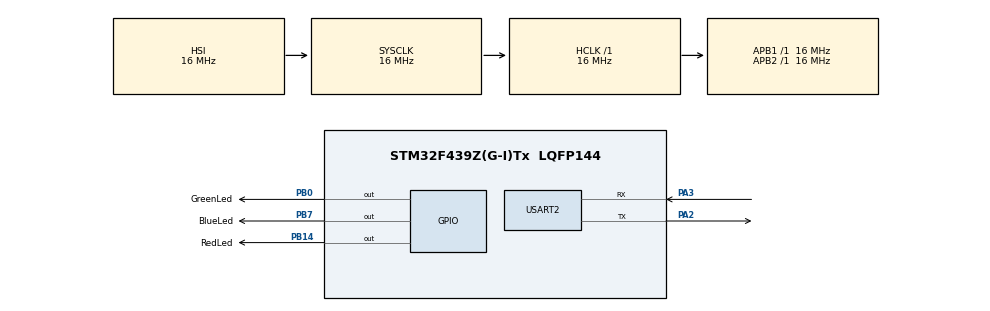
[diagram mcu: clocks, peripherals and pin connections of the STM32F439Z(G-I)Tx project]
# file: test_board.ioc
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Mcu.Family=STM32F4
Mcu.Name=STM32F439Z(G-I)Tx
Mcu.Package=LQFP144
NVIC.PriorityGroup=NVIC_PRIORITYGROUP_4
NVIC.USART2_IRQn=true\:0\:0\:false\:false\:true\:true\:true\:true
PA2.Mode=Asynchronous
PA2.Signal=USART2_TX
PA3.Mode=Asynchronous
PA3.Signal=USART2_RX
PB0.GPIO_Label=GreenLed
PB0.Signal=GPIO_Output
PB14.GPIO_Label=RedLed
PB14.Signal=GPIO_Output
PB7.GPIO_Label=BlueLed
PB7.Signal=GPIO_Output
ProjectManager.HeapSize=0x200
ProjectManager.StackSize=0x400
ProjectManager.TargetToolchain=STM32CubeIDE
RCC.AHBFreq_Value=16000000
RCC.APB1Freq_Value=16000000
RCC.APB2Freq_Value=16000000
RCC.CortexFreq_Value=16000000
RCC.HSE_VALUE=25000000
RCC.HSI_VALUE=16000000
RCC.LSE_VALUE=32768
RCC.SYSCLKFreq_VALUE=16000000
RCC.VCOOutputFreq_Value=192000000
USART2.VirtualMode=VM_ASYNC
board=custom

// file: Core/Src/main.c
/* USER CODE BEGIN Header */
/**
  ******************************************************************************
  * @file           : main.c
  * @brief          : Main program body
  ******************************************************************************
  * @attention
  *
  * Copyright (c) 2022 STMicroelectronics.
  * All rights reserved.
  *
  * This software is licensed under terms that can be found in the LICENSE file
  * in the root directory of this software component.
  * If no LICENSE file comes with this software, it is provided AS-IS.
  *
  ******************************************************************************
  */
/* USER CODE END Header */
#include "main.h"
#include "usart.h"
#include "gpio.h"

/* USER CODE BEGIN Includes */
void bootloader_set_boot_bank(uint8_t bank){

	if ((bank != 1) && (bank!=2)){
		return;
	}

	// clear OPTLOCK bit to enable modifying the option bytes
	HAL_FLASH_OB_Unlock();

	// Check that no Flash memory operation is ongoing
	while(FLASH->SR & FLASH_SR_BSY_Msk);

	// if it's required to set bank 1, then clear BFB2 bit
	// and if it's required to set bank 2, set the BFB2 bit
	if (bank==1){
		CLEAR_BIT(FLASH->OPTCR, FLASH_OPTCR_BFB2_Msk);
	}else{
		SET_BIT(FLASH->OPTCR, FLASH_OPTCR_BFB2_Msk);
	}

	// start changing user option bytes
	//HAL_FLASH_OB_Launch();
	SET_BIT(FLASH->OPTCR, FLASH_OPTCR_OPTSTRT_Msk);

	// Wait for the operation to be completed
	while(FLASH->SR & FLASH_SR_BSY_Msk);

	// unlock option-bytes-bit
	HAL_FLASH_OB_Lock();

}

void bootloader_switch_to_inactive_bank(void){

	// 0 represents bank 1,
	// 1 represents bank 2
	uint8_t active_bank = READ_BIT(FLASH->OPTCR, FLASH_OPTCR_BFB2_Msk);

	if (active_bank == 0){
		bootloader_set_boot_bank(2);
	}else{
		bootloader_set_boot_bank(1);
	}

	bootloader_reboot();
}

void bootloader_reboot(void){
	NVIC_SystemReset();
}
/* USER CODE END Includes */

/* USER CODE BEGIN PV */
#define FAILED 0
#define SUCCEED 1
static uint32_t GetSector(uint32_t Address)
{
	uint32_t sector = 0;

	/* BANK 1 */
	if((Address >= 0x08000000 ) && (Address < 0x08003FFF))
	{
		sector = FLASH_SECTOR_0;
	}

	else if((Address >= 0x08004000 ) && (Address <  0x08007FFF))
	{
		sector = FLASH_SECTOR_1;
	}

	else if((Address >= 0x08008000) && (Address <  0x0800BFFF))
	{
		sector = FLASH_SECTOR_2;
	}

	else if((Address >= 0x0800C000) && (Address < 0x0800FFFF))
	{
		sector = FLASH_SECTOR_3;
	}

	else if((Address >=  0x08010000) && (Address <  0x0801FFFF))
	{
		sector = FLASH_SECTOR_4;
	}

	else if((Address >=  0x08020000) && (Address < 0x0803FFFF))
	{
		sector = FLASH_SECTOR_5;
	}

	else if((Address >= 0x08040000) && (Address < 0x0805FFFF))
	{
		sector = FLASH_SECTOR_6;
	}

	else if((Address >= 0x08060000) && (Address < 0x0807FFFF))
	{
		sector = FLASH_SECTOR_7;
	}

	else if((Address >= 0x08080000) && (Address < 0x0809FFFF))
	{
		sector = FLASH_SECTOR_8;
	}

	else if((Address >= 0x080A0000) && (Address < 0x080BFFFF))
	{
		sector = FLASH_SECTOR_9;
	}

	else if((Address >= 0x080C0000) && (Address < 0x080DFFFF))
	{
		sector = FLASH_SECTOR_10;
	}

	else if((Address >= 0x080E0000) && (Address < 0x080FFFFF))
	{
		sector = FLASH_SECTOR_11;
	}

	/* BANK 2 */
	if((Address >= 0x08100000 ) && (Address < 0x08103FFF))
	{
		sector = FLASH_SECTOR_12;
	}

	else if((Address >= 0x08104000 ) && (Address <  0x08107FFF))
	{
		sector = FLASH_SECTOR_13;
	}

	else if((Address >= 0x08108000) && (Address <  0x0810BFFF))
	{
		sector = FLASH_SECTOR_14;
	}

	else if((Address >= 0x0810C000) && (Address < 0x0810FFFF))
	{
		sector = FLASH_SECTOR_15;
	}

	else if((Address >=  0x08110000) && (Address <  0x0811FFFF))
	{
		sector = FLASH_SECTOR_16;
	}

	else if((Address >=  0x08120000) && (Address < 0x0813FFFF))
	{
		sector = FLASH_SECTOR_17;
	}

	else if((Address >= 0x08140000) && (Address < 0x0815FFFF))
	{
		sector = FLASH_SECTOR_18;
	}

	else if((Address >= 0x08160000) && (Address < 0x0817FFFF))
	{
		sector = FLASH_SECTOR_19;
	}

	else if((Address >= 0x08180000) && (Address < 0x0819FFFF))
	{
		sector = FLASH_SECTOR_20;
	}

	else if((Address >= 0x081A0000) && (Address < 0x081BFFFF))
	{
		sector = FLASH_SECTOR_21;
	}

	else if((Address >= 0x081C0000) && (Address < 0x081DFFFF))
	{
		sector = FLASH_SECTOR_22;
	}

	else if((Address >= 0x081E0000) && (Address < 0x081FFFFF))
	{
		sector = FLASH_SECTOR_23;
	}
	return sector;
}

uint8_t Flash_Memory_Write(uint32_t StartSectorAddress ,uint32_t *data, uint32_t dataSizeInBytes){

	static FLASH_EraseInitTypeDef EraseInitStruct;   /* Struct to erase the flash area */
	uint32_t SECTORError;
	uint32_t numofWords=dataSizeInBytes/4;
	uint32_t numofWordsWritten=0;

	/* Getting the number of sector to erase from the first sector */
	uint32_t StartSector = GetSector(StartSectorAddress);
	uint32_t EndSectorAddress = StartSectorAddress + dataSizeInBytes;
	uint32_t EndSector = GetSector(EndSectorAddress);

	/* Filling the erasing struct */
	EraseInitStruct.TypeErase     = FLASH_TYPEERASE_SECTORS;
	EraseInitStruct.VoltageRange  = FLASH_VOLTAGE_RANGE_3;
	EraseInitStruct.Sector        = StartSector;
	EraseInitStruct.NbSectors     = (EndSector - StartSector) + 1;

	/* Unlocking the Flash control register */
	HAL_FLASH_Unlock();

	/* check if the erasing process is done correctly */
	if (HAL_FLASHEx_Erase(&EraseInitStruct, &SECTORError) != HAL_OK)
	{
		/*Error occurred while page erase*/
		return FAILED;
	}

	/* looping on the data word by word to write it in the flash */
	while(numofWordsWritten < numofWords){

		if (HAL_FLASH_Program(FLASH_TYPEPROGRAM_WORD, StartSectorAddress, data[numofWordsWritten]) == HAL_OK)
		{
			StartSectorAddress += 4;
			numofWordsWritten++;
		}
		else
		{
			/* Error occurred while writing data in Flash memory*/
			return FAILED;
		}

	}

	/* Locking the Flash control register */
	HAL_FLASH_Lock();

	return SUCCEED;
}

/* USER CODE END PV */

void SystemClock_Config(void);
#define app_size 6516
/* USER CODE BEGIN 0 */

uint8_t data_received[app_size]={0};
int flag=0;

//uint64_t array_data[]
void HAL_UART_RxCpltCallback(UART_HandleTypeDef *huart){

	flag =100;

}
void HAL_UART_TxCpltCallback(UART_HandleTypeDef *huart){

}
/* USER CODE END 0 */

int main(void)
{

  /* MCU Configuration--------------------------------------------------------*/

  /* Reset of all peripherals, Initializes the Flash interface and the Systick. */
  HAL_Init();

  /* Configure the system clock */
  SystemClock_Config();

  /* Initialize all configured peripherals */
  MX_GPIO_Init();
  MX_USART2_UART_Init();
  /* USER CODE BEGIN 2 */
  int8_t xx[1]={0x05};
  HAL_UART_Transmit(&huart2, (uint8_t *)xx, sizeof(xx), HAL_MAX_DELAY);
  //HAL_UART_Transmit_IT(&huart2,xx, 2);

  HAL_UART_Receive_IT(&huart2, data_received, app_size);
  /* USER CODE END 2 */

  /* Infinite loop */
  /* USER CODE BEGIN WHILE */
  //int counter =0;
  while (1)
  {
	  if(flag==100){
		  Flash_Memory_Write(0x08100000,(uint32_t *)data_received,app_size);
		  bootloader_switch_to_inactive_bank();
		  flag=0;
	  }
  }
  /* USER CODE END 3 */
}

void SystemClock_Config(void)
{
  RCC_OscInitTypeDef RCC_OscInitStruct = {0};
  RCC_ClkInitTypeDef RCC_ClkInitStruct = {0};

  /** Configure the main internal regulator output voltage
  */
  __HAL_RCC_PWR_CLK_ENABLE();
  __HAL_PWR_VOLTAGESCALING_CONFIG(PWR_REGULATOR_VOLTAGE_SCALE3);

  /** Initializes the RCC Oscillators according to the specified parameters
  * in the RCC_OscInitTypeDef structure.
  */
  RCC_OscInitStruct.OscillatorType = RCC_OSCILLATORTYPE_HSI;
  RCC_OscInitStruct.HSIState = RCC_HSI_ON;
  RCC_OscInitStruct.HSICalibrationValue = RCC_HSICALIBRATION_DEFAULT;
  RCC_OscInitStruct.PLL.PLLState = RCC_PLL_NONE;
  if (HAL_RCC_OscConfig(&RCC_OscInitStruct) != HAL_OK)
  {
    Error_Handler();
  }

  /** Initializes the CPU, AHB and APB buses clocks
  */
  RCC_ClkInitStruct.ClockType = RCC_CLOCKTYPE_HCLK|RCC_CLOCKTYPE_SYSCLK
                              |RCC_CLOCKTYPE_PCLK1|RCC_CLOCKTYPE_PCLK2;
  RCC_ClkInitStruct.SYSCLKSource = RCC_SYSCLKSOURCE_HSI;
  RCC_ClkInitStruct.AHBCLKDivider = RCC_SYSCLK_DIV1;
  RCC_ClkInitStruct.APB1CLKDivider = RCC_HCLK_DIV1;
  RCC_ClkInitStruct.APB2CLKDivider = RCC_HCLK_DIV1;

  if (HAL_RCC_ClockConfig(&RCC_ClkInitStruct, FLASH_LATENCY_0) != HAL_OK)
  {
    Error_Handler();
  }
}

void Error_Handler(void)
{
  __disable_irq();
  while (1)
  {
  }
}
